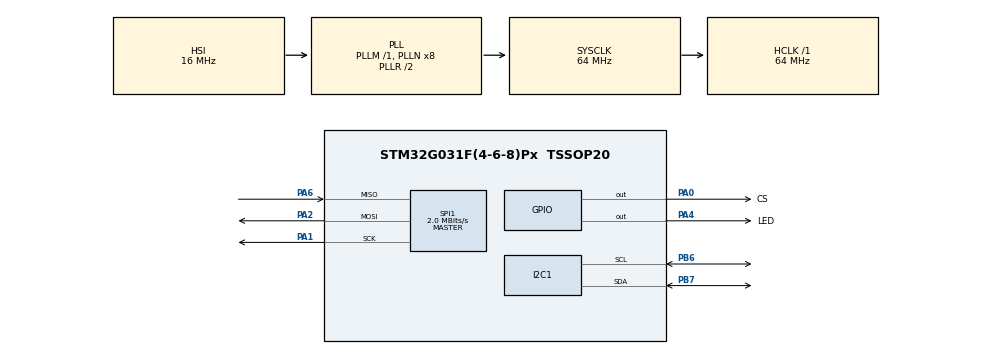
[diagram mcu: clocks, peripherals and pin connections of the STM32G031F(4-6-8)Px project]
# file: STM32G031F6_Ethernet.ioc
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I2C1.Timing=0x10707DBC
Mcu.Family=STM32G0
Mcu.Name=STM32G031F(4-6-8)Px
Mcu.Package=TSSOP20
PA0.GPIO_Label=CS
PA0.Signal=GPIO_Output
PA1.Mode=Full_Duplex_Master
PA1.Signal=SPI1_SCK
PA14-BOOT0__PA15.StandardMode=true
PA2.Mode=Full_Duplex_Master
PA2.Signal=SPI1_MOSI
PA4.GPIO_Label=LED
PA4.Signal=GPIO_Output
PA6.Mode=Full_Duplex_Master
PA6.Signal=SPI1_MISO
PB0__PB1__PB2__PA8.StandardMode=true
PB3__PB4__PB5__PB6.StandardMode=true
PB6.Mode=I2C
PB6.Signal=I2C1_SCL
PB7.Mode=I2C
PB7.Signal=I2C1_SDA
PB7__PB8.StandardMode=true
PC14-OSC32_IN\ (PC14).Mode=LSE-External-Oscillator
PC14-OSC32_IN\ (PC14).Signal=RCC_OSC32_IN
PC14-OSC32_IN\ (PC14)__PB9.StandardMode=true
PC15-OSC32_OUT\ (PC15).Mode=LSE-External-Oscillator
PC15-OSC32_OUT\ (PC15).Signal=RCC_OSC32_OUT
ProjectManager.HeapSize=0x200
ProjectManager.StackSize=0x400
ProjectManager.TargetToolchain=STM32CubeIDE
RCC.ADCFreq_Value=64000000
RCC.AHBFreq_Value=64000000
RCC.CortexFreq_Value=64000000
RCC.EXTERNAL_CLOCK_VALUE=12288000
RCC.HCLKFreq_Value=64000000
RCC.HSE_VALUE=8000000
RCC.HSI_VALUE=16000000
RCC.SYSCLKFreq_VALUE=64000000
RCC.SYSCLKSource=RCC_SYSCLKSOURCE_PLLCLK
RCC.VCOOutputFreq_Value=128000000
SPI1.BaudRatePrescaler=SPI_BAUDRATEPRESCALER_32
SPI1.CalculateBaudRate=2.0 MBits/s
SPI1.Direction=SPI_DIRECTION_2LINES
SPI1.Mode=SPI_MODE_MASTER
SPI1.VirtualType=VM_MASTER
TIM2.Period=10000
TIM2.Prescaler=64000-1
VP_TIM2_VS_ClockSourceINT.Mode=Internal
board=custom

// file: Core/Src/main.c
/* USER CODE BEGIN Header */
/**
  ******************************************************************************
  * @file           : main.c
  * @brief          : Main program body
  ******************************************************************************
  * @attention
  *
  * Copyright (c) 2024 STMicroelectronics.
  * All rights reserved.
  *
  * This software is licensed under terms that can be found in the LICENSE file
  * in the root directory of this software component.
  * If no LICENSE file comes with this software, it is provided AS-IS.
  *
  ******************************************************************************
  */
/* USER CODE END Header */
#include "main.h"

/* USER CODE BEGIN Includes */
#include "W5500.h"
#include "socket.h"
#include "wizchip_conf.h"
#include "loopback.h"
#include "string.h"
#include "INA219.h"

/* USER CODE END Includes */

/* USER CODE BEGIN PD */

//Power
uint16_t vbus, vshunt, current,Power;
uint16_t Total_power = 0,Last_Total_power = 0;
uint16_t Second;
//W5500 Settings
#define SOCK_TCPC   0
#define Reset   "Reset"

char Recived[15];
uint8_t retVal, sockStatus;
int16_t rcvLen;
uint8_t rcvBuf[20], bufSize[] = {2, 2, 2, 2};
uint8_t s;
uint8_t server_ip [4]= {169,254,102,17};
uint8_t Connect=0;
uint8_t Send[25];
uint8_t Send_len=25;
uint16_t recv_len = 0;
uint8_t RSR_len;
uint8_t data_buf[]="Start";
uint8_t Disconnect;
uint8_t socket_id=22;
uint8_t State = 1;

/* USER CODE END PD */

I2C_HandleTypeDef hi2c1;

SPI_HandleTypeDef hspi1;

TIM_HandleTypeDef htim2;

/* USER CODE BEGIN PV */
INA219_t ina219;
void cs_sel() {
  	HAL_GPIO_WritePin(CS_GPIO_Port,CS_Pin, GPIO_PIN_RESET); //CS LOW
  }

  void cs_desel() {
  	HAL_GPIO_WritePin(CS_GPIO_Port,CS_Pin, GPIO_PIN_SET); //CS HIGH
  }

  uint8_t spi_rb(void) {
  	uint8_t rbuf;
  	HAL_SPI_Receive(&hspi1, &rbuf, 1, 0xFFFFFFFF);
  	return rbuf;
  }

  void spi_wb(uint8_t b) {
  	HAL_SPI_Transmit(&hspi1, &b, 1, 0xFFFFFFFF);
  }
/* USER CODE END PV */

void SystemClock_Config(void);
static void MX_GPIO_Init(void);
static void MX_SPI1_Init(void);
static void MX_I2C1_Init(void);
static void MX_TIM2_Init(void);

int main(void)
{

  /* MCU Configuration--------------------------------------------------------*/

  /* Reset of all peripherals, Initializes the Flash interface and the Systick. */
  HAL_Init();

  /* Configure the system clock */
  SystemClock_Config();

  /* Initialize all configured peripherals */
  MX_GPIO_Init();
  MX_SPI1_Init();
  MX_I2C1_Init();
  MX_TIM2_Init();
  /* USER CODE BEGIN 2 */

  HAL_TIM_Base_Start(&htim2);
  reg_wizchip_cs_cbfunc(cs_sel,cs_desel);
  reg_wizchip_spi_cbfunc(spi_rb,spi_wb);
   wizchip_init(bufSize, bufSize);
   wizphy_reset();
   wiz_NetInfo netInfo = { .mac 	= {0x00, 0x08, 0xdc, 0xab, 0xcd, 0xef},	// Mac address
	                            .ip 	= {169,254,102,1},					// IP address
	                            .sn 	= {255, 255, 0, 0},					// Subnet mask
	                            .gw 	= {0, 0, 0, 0}};					// Gateway address
	  wizchip_setnetinfo(&netInfo);
	  wizchip_getnetinfo(&netInfo);

   while(!INA219_Init(&ina219, &hi2c1, INA219_ADDRESS))
     {
		  HAL_GPIO_TogglePin(LED_GPIO_Port, LED_Pin);
		  HAL_Delay(100);
     }
   HAL_Delay(1000);
  /* USER CODE END 2 */

  /* Infinite loop */
  /* USER CODE BEGIN WHILE */
  while (1)
  {
	  while(Connect != SOCK_OK){
	     	    Connect = 0;
	     	      socket(SOCK_TCPC,Sn_MR_TCP, socket_id,SF_TCP_NODELAY);
	     	   	  Connect = connect(SOCK_TCPC,server_ip, socket_id);
	    	      HAL_GPIO_TogglePin(LED_GPIO_Port, LED_Pin);
	     	      HAL_Delay(100);
	     	  }
	  vbus = INA219_ReadBusVoltage(&ina219);
	  current = INA219_ReadCurrent(&ina219);
	  __HAL_TIM_SET_COUNTER(&htim2,0);
	  Power=(((float)(vbus)/1000*(float)(current)/1000))*10;//W*10
	  recv_len = recv(SOCK_TCPC, data_buf, sizeof(data_buf));
	  	  if (recv_len > 0) {
	  	  	  	          	  data_buf[recv_len] = '\0';
	  	  	  	            }
	  //Command
	  if(strstr(data_buf,"Start") != 0){
		// Power consumption is calculated and added to the total power consumption.
		  Total_power = Total_power + (((float)(Power)/10)*((float)(Second)/(3600*1000)))*100*10;//mW/h*10
	 }

	 else if(strstr(data_buf,"Pause") != 0){
	  	// Power consumption is stopped and the last saved value is restored.
		 Total_power = Last_Total_power;
	  	   	}
	 else if(strstr(data_buf,"Reset") != 0){
	 	 // Power consumption is reset.
		 Total_power = 0;
	 	  	   	}
	 else if(strstr(data_buf,"Disco") != 0){
		 //The connection is disconnected and the total power consumption is reset to zero.
		 disconnect(SOCK_TCPC);
		 close(SOCK_TCPC);
		 Total_power = 0;
	 	 Connect = 0 ;
	 	 Total_power =0;
	 	 }

	  if(Connect== SOCK_OK && State == 1){
		  sprintf(Send, "V=%d,A=%d,W=%d,mW/H=%d" ,vbus,current,Power,Total_power);
	      send(s,Send,strlen(Send));
	      	   }
	  Last_Total_power = Total_power;
	  HAL_Delay(1000);
	  Second =__HAL_TIM_GET_COUNTER(&htim2);
    /* USER CODE END WHILE */

  }
}

void SystemClock_Config(void)
{
  RCC_OscInitTypeDef RCC_OscInitStruct = {0};
  RCC_ClkInitTypeDef RCC_ClkInitStruct = {0};

  /** Configure the main internal regulator output voltage
  */
  HAL_PWREx_ControlVoltageScaling(PWR_REGULATOR_VOLTAGE_SCALE1);

  /** Initializes the RCC Oscillators according to the specified parameters
  * in the RCC_OscInitTypeDef structure.
  */
  RCC_OscInitStruct.OscillatorType = RCC_OSCILLATORTYPE_HSI;
  RCC_OscInitStruct.HSIState = RCC_HSI_ON;
  RCC_OscInitStruct.HSIDiv = RCC_HSI_DIV1;
  RCC_OscInitStruct.HSICalibrationValue = RCC_HSICALIBRATION_DEFAULT;
  RCC_OscInitStruct.PLL.PLLState = RCC_PLL_ON;
  RCC_OscInitStruct.PLL.PLLSource = RCC_PLLSOURCE_HSI;
  RCC_OscInitStruct.PLL.PLLM = RCC_PLLM_DIV1;
  RCC_OscInitStruct.PLL.PLLN = 8;
  RCC_OscInitStruct.PLL.PLLP = RCC_PLLP_DIV2;
  RCC_OscInitStruct.PLL.PLLQ = RCC_PLLQ_DIV2;
  RCC_OscInitStruct.PLL.PLLR = RCC_PLLR_DIV2;
  if (HAL_RCC_OscConfig(&RCC_OscInitStruct) != HAL_OK)
  {
    Error_Handler();
  }

  /** Initializes the CPU, AHB and APB buses clocks
  */
  RCC_ClkInitStruct.ClockType = RCC_CLOCKTYPE_HCLK|RCC_CLOCKTYPE_SYSCLK
                              |RCC_CLOCKTYPE_PCLK1;
  RCC_ClkInitStruct.SYSCLKSource = RCC_SYSCLKSOURCE_PLLCLK;
  RCC_ClkInitStruct.AHBCLKDivider = RCC_SYSCLK_DIV1;
  RCC_ClkInitStruct.APB1CLKDivider = RCC_HCLK_DIV1;

  if (HAL_RCC_ClockConfig(&RCC_ClkInitStruct, FLASH_LATENCY_2) != HAL_OK)
  {
    Error_Handler();
  }
}

static void MX_I2C1_Init(void)
{

  hi2c1.Instance = I2C1;
  hi2c1.Init.Timing = 0x10707DBC;
  hi2c1.Init.OwnAddress1 = 0;
  hi2c1.Init.AddressingMode = I2C_ADDRESSINGMODE_7BIT;
  hi2c1.Init.DualAddressMode = I2C_DUALADDRESS_DISABLE;
  hi2c1.Init.OwnAddress2 = 0;
  hi2c1.Init.OwnAddress2Masks = I2C_OA2_NOMASK;
  hi2c1.Init.GeneralCallMode = I2C_GENERALCALL_DISABLE;
  hi2c1.Init.NoStretchMode = I2C_NOSTRETCH_DISABLE;
  if (HAL_I2C_Init(&hi2c1) != HAL_OK)
  {
    Error_Handler();
  }

  /** Configure Analogue filter
  */
  if (HAL_I2CEx_ConfigAnalogFilter(&hi2c1, I2C_ANALOGFILTER_ENABLE) != HAL_OK)
  {
    Error_Handler();
  }

  /** Configure Digital filter
  */
  if (HAL_I2CEx_ConfigDigitalFilter(&hi2c1, 0) != HAL_OK)
  {
    Error_Handler();
  }

}

static void MX_SPI1_Init(void)
{

  /* SPI1 parameter configuration*/
  hspi1.Instance = SPI1;
  hspi1.Init.Mode = SPI_MODE_MASTER;
  hspi1.Init.Direction = SPI_DIRECTION_2LINES;
  hspi1.Init.DataSize = SPI_DATASIZE_8BIT;
  hspi1.Init.CLKPolarity = SPI_POLARITY_LOW;
  hspi1.Init.CLKPhase = SPI_PHASE_1EDGE;
  hspi1.Init.NSS = SPI_NSS_SOFT;
  hspi1.Init.BaudRatePrescaler = SPI_BAUDRATEPRESCALER_32;
  hspi1.Init.FirstBit = SPI_FIRSTBIT_MSB;
  hspi1.Init.TIMode = SPI_TIMODE_DISABLE;
  hspi1.Init.CRCCalculation = SPI_CRCCALCULATION_DISABLE;
  hspi1.Init.CRCPolynomial = 7;
  hspi1.Init.CRCLength = SPI_CRC_LENGTH_DATASIZE;
  hspi1.Init.NSSPMode = SPI_NSS_PULSE_ENABLE;
  if (HAL_SPI_Init(&hspi1) != HAL_OK)
  {
    Error_Handler();
  }

}

static void MX_TIM2_Init(void)
{

  TIM_ClockConfigTypeDef sClockSourceConfig = {0};
  TIM_MasterConfigTypeDef sMasterConfig = {0};

  htim2.Instance = TIM2;
  htim2.Init.Prescaler = 64000-1;
  htim2.Init.CounterMode = TIM_COUNTERMODE_UP;
  htim2.Init.Period = 10000;
  htim2.Init.ClockDivision = TIM_CLOCKDIVISION_DIV1;
  htim2.Init.AutoReloadPreload = TIM_AUTORELOAD_PRELOAD_DISABLE;
  if (HAL_TIM_Base_Init(&htim2) != HAL_OK)
  {
    Error_Handler();
  }
  sClockSourceConfig.ClockSource = TIM_CLOCKSOURCE_INTERNAL;
  if (HAL_TIM_ConfigClockSource(&htim2, &sClockSourceConfig) != HAL_OK)
  {
    Error_Handler();
  }
  sMasterConfig.MasterOutputTrigger = TIM_TRGO_RESET;
  sMasterConfig.MasterSlaveMode = TIM_MASTERSLAVEMODE_DISABLE;
  if (HAL_TIMEx_MasterConfigSynchronization(&htim2, &sMasterConfig) != HAL_OK)
  {
    Error_Handler();
  }

}

static void MX_GPIO_Init(void)
{
  GPIO_InitTypeDef GPIO_InitStruct = {0};

  /* GPIO Ports Clock Enable */
  __HAL_RCC_GPIOB_CLK_ENABLE();
  __HAL_RCC_GPIOC_CLK_ENABLE();
  __HAL_RCC_GPIOA_CLK_ENABLE();

  /*Configure GPIO pin Output Level */
  HAL_GPIO_WritePin(GPIOA, CS_Pin|LED_Pin, GPIO_PIN_RESET);

  /*Configure GPIO pins : CS_Pin LED_Pin */
  GPIO_InitStruct.Pin = CS_Pin|LED_Pin;
  GPIO_InitStruct.Mode = GPIO_MODE_OUTPUT_PP;
  GPIO_InitStruct.Pull = GPIO_NOPULL;
  GPIO_InitStruct.Speed = GPIO_SPEED_FREQ_LOW;
  HAL_GPIO_Init(GPIOA, &GPIO_InitStruct);

}

void Error_Handler(void)
{
  __disable_irq();
  while (1)
  {
  }
}
